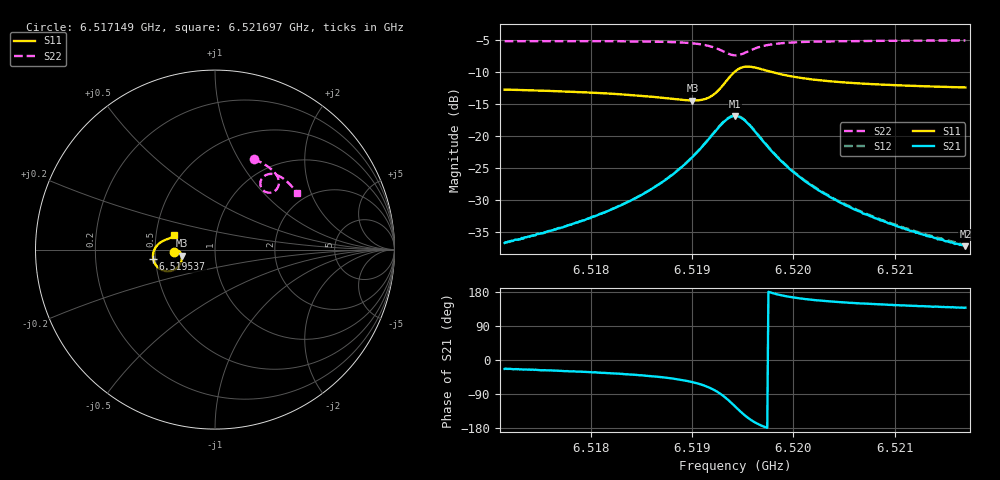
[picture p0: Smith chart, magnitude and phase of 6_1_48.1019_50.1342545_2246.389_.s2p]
#  HZ  S  RI  R  50.00
! Rohde & Schwarz Vector Network Analyzer
! Rohde-Schwarz,ZNB20-2Port,1311601062101988,3.16
! Created: UTC 12/23/2023, 3:35:10 AM
! freq[Hz]  re:S11  im:S11  re:S21  im:S21  re:S12  im:S12  re:S22  im:S22
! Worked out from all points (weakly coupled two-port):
!   401 points, 6.517149 GHz to 6.521697 GHz, reference 50 ohm
!   highest |S21| = -16.86 dB at 6.519423 GHz (marker M1); lowest = -37.2 dB at 6.521697 GHz (marker M2)
!   lowest |S11| = -14.5 dB at 6.519002 GHz (marker M3), VSWR 1.47, Z = 34.2 - j2.36 ohm
!   |S11| at or under -10 dB: start of sweep to 6.519418 GHz; 6.519783 GHz to end of sweep
!   |S22| runs from -7.4 to -5.1 dB; largest |S21 - S12| = 0.0043
!   S11 on the Smith chart (normalised r, x): 6.517149 GHz: 0.63, -0.02; 6.519537 GHz: 0.49, -0.06; 6.521697 GHz: 0.62, +0.10
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6.5171492e9  -0.2299 -0.0139  0.0135 -0.00585  0.0137 -0.00536  0.2148 0.5049
6.5175585e9  -0.2251 -0.00817  0.0159 -0.0082  0.0161 -0.00758  0.2448 0.4914
6.5179109e9  -0.2196 -0.00443  0.0187 -0.0112  0.019 -0.0107  0.2709 0.4776
6.5183202e9  -0.2109 -0.00301  0.0235 -0.0177  0.0241 -0.017  0.3017 0.4574
6.5186727e9  -0.1998 -0.00846  0.03 -0.0295  0.0309 -0.0287  0.329 0.4332
6.5188319e9  -0.1934 -0.0161  0.0334 -0.0397  0.0348 -0.0388  0.3416 0.4175
6.5190024e9  -0.1864 -0.0332  0.0361 -0.0583  0.0379 -0.0576  0.3532 0.3938
6.5191161e9  -0.1856 -0.0543  0.0333 -0.0788  0.0358 -0.0783  0.3563 0.3708
6.5191957e9  -0.1916 -0.0759  0.0244 -0.0985  0.0276 -0.0985  0.352 0.3502
6.5192525e9  -0.2036 -0.0944  0.011 -0.1142  0.0144 -0.1148  0.3422 0.3344
6.5193321e9  -0.2381 -0.1169  -0.0232 -0.1309  -0.0197 -0.1327  0.3152 0.3182
6.5194231e9  -0.298 -0.1128  -0.0769 -0.1212  -0.0739 -0.1243  0.2734 0.3265
6.5194799e9  -0.3288 -0.0873  -0.1015 -0.0955  -0.0997 -0.0991  0.2563 0.3484
6.5195367e9  -0.3438 -0.054  -0.111 -0.0648  -0.11 -0.0686  0.2529 0.3739
6.5196504e9  -0.3376 -1.37e-05  -0.0997 -0.0193  -0.1 -0.0224  0.2724 0.4085
6.5197641e9  -0.3179 0.0283  -0.0795 0.00156  -0.0803 -0.000524  0.2983 0.4203
6.5199688e9  -0.2892 0.0484  -0.0534 0.0129  -0.0543 0.0116  0.3338 0.4189
6.5201848e9  -0.2706 0.0564  -0.0381 0.0148  -0.0389 0.0139  0.3594 0.4087
6.5205259e9  -0.2535 0.063  -0.0251 0.0136  -0.0258 0.0131  0.3886 0.3893
6.5209465e9  -0.2407 0.069  -0.0171 0.0118  -0.0178 0.0114  0.4165 0.3643
6.5212762e9  -0.2334 0.0735  -0.0135 0.0105  -0.0139 0.0103  0.4351 0.3441
6.5216969e9  -0.2258 0.0791  -0.0103 0.00924  -0.0108 0.00922  0.4564 0.3181
